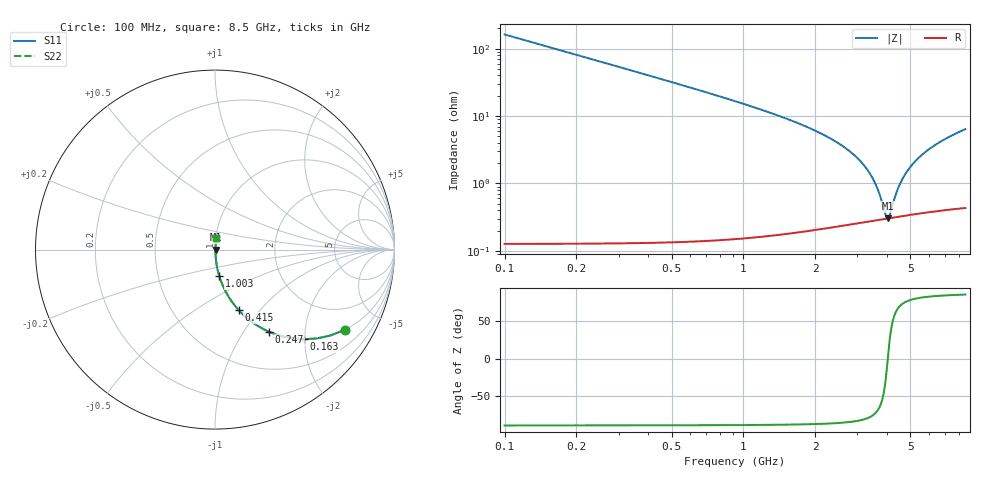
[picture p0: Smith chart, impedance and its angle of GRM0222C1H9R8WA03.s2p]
!Murata Part Number: GRM0222C1H9R8WA03
!These Parameters are Measured in Series Mode Connection
!Data Generated on Mar 30, 2021
!  o--ll--o
!Port1  Port2
!  o------o
!Operation Temp=25[degC], DC Bias Voltage=0[V]
!Freq. Start=100[MHz] Stop=9[GHz] 401[Steps]
# Hz S RI R 50
!Freq.(Hz) S11(Real) S11(Imag) S21(Real) S21(Imag) S12(Real) S12(Imag) S22(Real) S22(Imag)
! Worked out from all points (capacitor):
!   401 points, 100 MHz to 8.5 GHz, reference 50 ohm
!   read as one part in series: C = 9.8 pF near 142 MHz
!   lowest |Z| = 304 mohm at 4.027 GHz (marker M1)
!   series resonance near 4.022 GHz, so ESL is about 160 pH
!   S11 on the Smith chart (normalised r, x): 100 MHz: 1.00, -3.25; 163 MHz: 1.00, -1.99; 247 MHz: 1.00, -1.31; 415 MHz: 1.00, -0.77; 1.003 GHz: 1.00, -0.30; 8.5 GHz: 1.01, +0.13
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1e8  0.7247 -0.4463  0.2753 0.4463  0.2753 0.4463  0.7247 -0.4463
1.63e8  0.4973 -0.4994  0.5027 0.4994  0.5027 0.4994  0.4973 -0.4994
2.47e8  0.3005 -0.4575  0.6995 0.4575  0.6995 0.4575  0.3005 -0.4575
3.31e8  0.1924 -0.3929  0.8076 0.3929  0.8076 0.3929  0.1924 -0.3929
4.15e8  0.1311 -0.3358  0.8689 0.3358  0.8689 0.3358  0.1311 -0.3358
6.25e8  0.0614 -0.2374  0.9386 0.2374  0.9386 0.2374  0.0614 -0.2374
1.003e9  0.0238 -0.1476  0.9762 0.1476  0.9762 0.1476  0.0238 -0.1476
1.507e9  0.0101 -0.091  0.9899 0.091  0.9899 0.091  0.0101 -0.091
2.914e9  0.00319 -0.026  0.9968 0.026  0.9968 0.026  0.00319 -0.026
3.25e9  0.00296 -0.017  0.997 0.017  0.997 0.017  0.00296 -0.017
3.502e9  0.00291 -0.011  0.9971 0.011  0.9971 0.011  0.00291 -0.011
3.712e9  0.00293 -0.00634  0.9971 0.00634  0.9971 0.00634  0.00293 -0.00634
3.943e9  0.00299 -0.00157  0.997 0.00157  0.997 0.00157  0.00299 -0.00157
4.027e9  0.00303 8.84e-05  0.997 -8.84e-05  0.997 -8.84e-05  0.00303 8.84e-05
4.111e9  0.00307 0.00171  0.9969 -0.00171  0.9969 -0.00171  0.00307 0.00171
4.3e9  0.00317 0.00525  0.9968 -0.00525  0.9968 -0.00525  0.00317 0.00525
4.531e9  0.00332 0.00936  0.9967 -0.00936  0.9967 -0.00936  0.00332 0.00936
4.825e9  0.00355 0.0143  0.9964 -0.0143  0.9964 -0.0143  0.00355 0.0143
5.224e9  0.00392 0.0207  0.9961 -0.0207  0.9961 -0.0207  0.00392 0.0207
5.707e9  0.00443 0.0278  0.9956 -0.0278  0.9956 -0.0278  0.00443 0.0278
7.114e9  0.00622 0.0466  0.9938 -0.0466  0.9938 -0.0466  0.00622 0.0466
8.5e9  0.00833 0.0631  0.9917 -0.0631  0.9917 -0.0631  0.00833 0.0631
